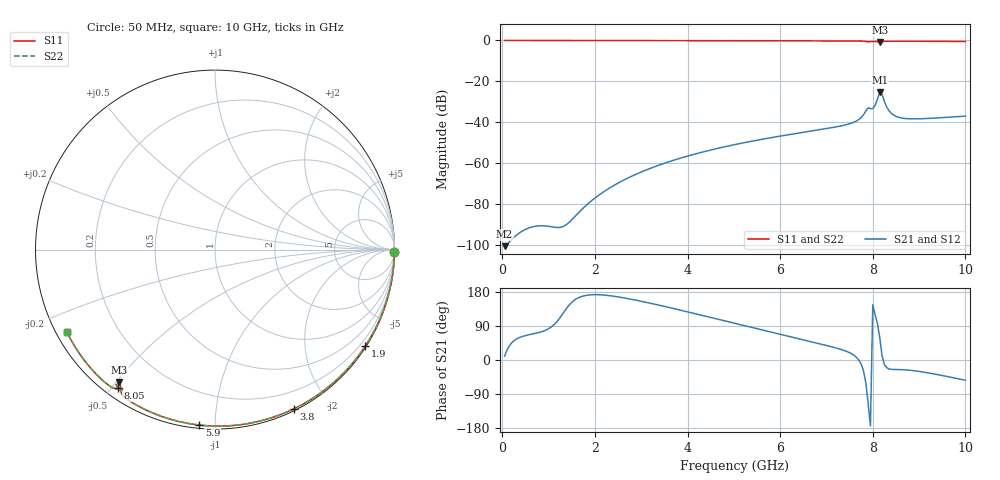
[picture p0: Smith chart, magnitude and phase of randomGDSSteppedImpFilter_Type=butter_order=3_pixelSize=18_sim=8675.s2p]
! freq	dB(S11)	phase(S11)	dB(S12)	phase(S12)
!  dB(S21)	phase(S21)	dB(S22)	phase(S22)
!S-par simulation data
#  GHz  S  DB  R 50
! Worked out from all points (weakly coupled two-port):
!   200 points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, 50 MHz to 10 GHz, reference 50 ohm
!   highest |S21| = -25.33 dB at 8.15 GHz (marker M1); lowest = -100.4 dB at 50 MHz (marker M2)
!   lowest |S11| = -0.8 dB at 8.15 GHz (marker M3), VSWR 21.20, Z = 2.97 - j25.5 ohm
!   |S11| at or under -10 dB: nowhere
!   |S22| runs from -0.8 to 0.0 dB; largest |S21 - S12| = 0
!   S11 on the Smith chart (normalised r, x): 50 MHz: open; 1.9 GHz: 0.03, -3.41; 3.8 GHz: 0.02, -1.61; 5.9 GHz: 0.02, -0.91; 8.05 GHz: 0.04, -0.52; 10 GHz: 0.03, -0.26
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0.05  -0.00 -0.9  -100.45 10.2  -100.45 10.2  -0.00 -0.9
0.85  -0.02 -14.8  -90.48 74.6  -90.48 74.6  -0.02 -14.8
1.75  -0.04 -30.2  -81.80 168.9  -81.80 168.9  -0.04 -30.2
1.9  -0.04 -32.7  -78.76 172.0  -78.76 172.0  -0.04 -32.7
2.55  -0.06 -43.5  -69.02 165.6  -69.02 165.6  -0.06 -43.5
3.4  -0.08 -57.3  -60.75 144.2  -60.75 144.2  -0.08 -57.3
3.8  -0.09 -63.6  -57.79 132.9  -57.79 132.9  -0.09 -63.6
5.05  -0.13 -82.7  -50.71 96.0  -50.71 96.0  -0.13 -82.7
5.9  -0.16 -95.1  -47.09 70.9  -47.09 70.9  -0.16 -95.1
6.7  -0.21 -106.5  -44.14 47.4  -44.14 47.4  -0.21 -106.5
7.6  -0.28 -119.4  -39.85 12.0  -39.85 12.0  -0.28 -119.4
7.75  -0.33 -121.9  -37.66 -11.1  -37.66 -11.1  -0.33 -121.8
7.9  -0.63 -123.7  -32.91 -114.1  -32.91 -114.1  -0.61 -123.8
8  -0.50 -124.1  -33.27 145.6  -33.27 145.6  -0.50 -124.2
8.05  -0.50 -125.1  -31.69 119.7  -31.69 119.7  -0.50 -125.2
8.15  -0.82 -125.8  -25.33 59.8  -25.33 59.8  -0.84 -125.9
8.2  -0.64 -124.4  -26.25 11.7  -26.25 11.7  -0.65 -124.3
8.3  -0.37 -126.6  -32.47 -20.3  -32.47 -20.3  -0.37 -126.5
8.35  -0.35 -127.6  -34.31 -23.5  -34.31 -23.5  -0.35 -127.5
8.5  -0.35 -130.0  -37.04 -25.1  -37.04 -25.1  -0.35 -130.0
8.75  -0.36 -133.7  -38.21 -26.4  -38.21 -26.4  -0.36 -133.7
10  -0.50 -150.9  -36.94 -53.5  -36.94 -53.5  -0.50 -150.9
